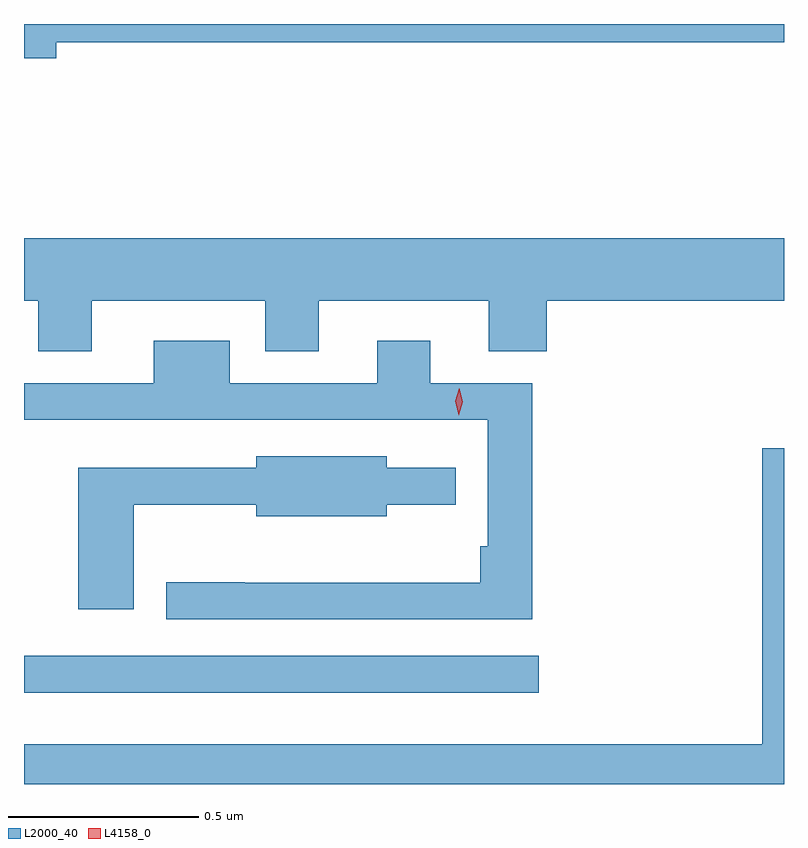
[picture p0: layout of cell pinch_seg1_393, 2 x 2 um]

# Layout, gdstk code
import gdstk
lib = gdstk.Library(unit=1e-6, precision=1e-09)
def R(c, l, rs):  # rectangles x0, y0, x1, y1
    for r in rs: c.add(gdstk.rectangle(r[:2], r[2:], *l))
def P(c, l, *ps):  # polygons
    for p in ps: c.add(gdstk.Polygon(p, *l))
L2000_40 = (2000, 40)
L4158_0 = (4158, 0)

pinch_seg1_393 = lib.new_cell('pinch_seg1_393')
R(pinch_seg1_393, L2000_40, [(987.261,538.712,988.615,538.809)])
P(pinch_seg1_393, L2000_40, [(987.346,540.424),(989.261,540.424),(989.261,540.472),(987.261,540.472),(987.261,540.382),(987.346,540.382)],
  [(987.439,539.744),(987.896,539.744),(987.896,539.611),(988.036,539.611),(988.036,539.744),(988.484,539.744),(988.484,539.611),(988.637,539.611),(988.637,539.744),(989.261,539.744),(989.261,539.908),(987.261,539.908),(987.261,539.744),(987.299,539.744),(987.299,539.611),(987.439,539.611)],
  [(988.598,539.526),(988.33,539.526),(988.33,539.638),(988.19,539.638),(988.19,539.526),(987.802,539.526),(987.802,539.638),(987.602,539.638),(987.602,539.526),(987.261,539.526),(987.261,539.43),(988.482,539.43),(988.482,539.098),(988.462,539.098),(988.462,539.002),(987.842,539.002),(987.842,539.003),(987.635,539.003),(987.635,538.905),(988.598,538.905)],
  [(989.261,539.356),(989.204,539.356),(989.204,538.576),(987.261,538.576),(987.261,538.472),(989.261,538.472)],
  [(987.55,539.207),(987.872,539.207),(987.872,539.177),(988.216,539.177),(988.216,539.207),(988.397,539.207),(988.397,539.304),(988.216,539.304),(988.216,539.335),(987.872,539.335),(987.872,539.304),(987.404,539.304),(987.404,538.932),(987.55,538.932)])
P(pinch_seg1_393, L4158_0, [(988.405,539.443),(988.405,539.443),(988.396,539.479),(988.406,539.514),(988.406,539.514),(988.407,539.514),(988.416,539.478),(988.405,539.443)])

lib.write_gds('pinch_seg1_393.gds')
